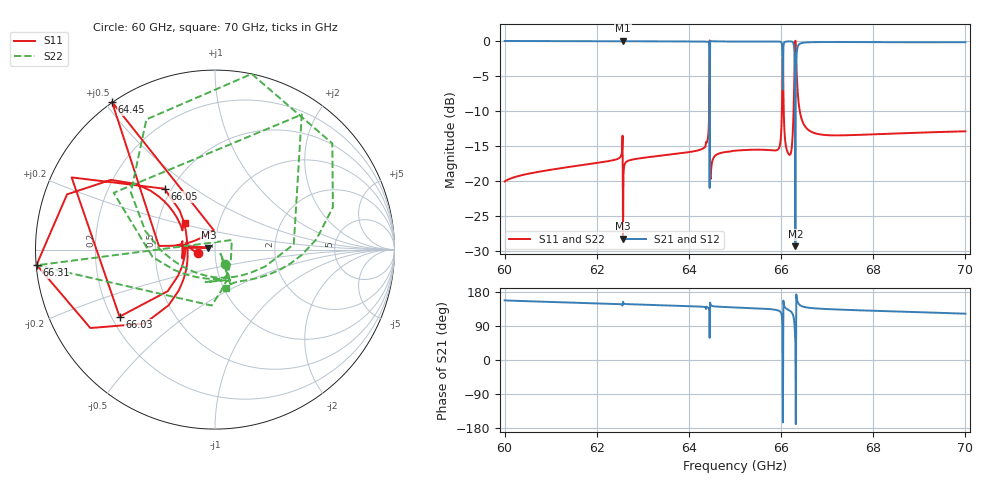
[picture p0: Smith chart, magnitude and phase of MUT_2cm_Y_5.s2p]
! TOUCHSTONE file generated by CST MICROWAVE STUDIO
! Date and time: Tue Feb 27 23:06:35 2024
! Project name: material_angular.cst
! Parameters = {Yi=5; iiii=5; exis2=5; exis=5; X=5; Z=5; Y=2}
! Header version: 2018
! Port assignment regex: !\s*Touchstone port\s*([0-9]+)\s*=\s*(CST MWS port|CST DS port)\s*([0-9]+|Zmin|Zmax)\s*\(\"(.*)\"\)(\s*mode\s*([0-9]+))?.*
! Touchstone port assignment:
! Touchstone port 1 = CST MWS port 1 ("")
! Touchstone port 2 = CST MWS port 2 ("")
# GHz S MA R 376.7
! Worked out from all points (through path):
!   1001 points, 60 GHz to 70 GHz, reference 376.7 ohm
!   highest |S21| = -0.01 dB at 62.57 GHz (marker M1); lowest = -29.4 dB at 66.31 GHz (marker M2)
!   lowest |S11| = -28.3 dB at 62.57 GHz (marker M3), VSWR 1.08, Z = 350 + j7.24 ohm
!   |S11| at or under -10 dB: start of sweep to 64.44 GHz; 64.46 GHz to 66.02 GHz (1.562 GHz wide, 2.39 % of centre); 66.4 GHz to end of sweep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
!   |S22| runs from -28.3 to 0.0 dB; largest |S21 - S12| = 0.042
!   S11 on the Smith chart (normalised r, x): 60 GHz: 0.82, -0.03; 64.45 GHz: -0.00, +0.52; 66.03 GHz: 0.23, -0.30; 66.05 GHz: 0.46, +0.39; 66.31 GHz: 0.00, -0.04; 70 GHz: 0.68, +0.22
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60  0.09867 -167.8  0.995 157.4  0.9956 157.4  0.09861 -57.0
61.67  0.1291 179.3  0.9915 150.8  0.9917 150.8  0.1292 -57.6
62.57  0.03853 164.4  0.9993 153.6  0.9993 153.6  0.03853 -37.2
63.34  0.1503 172.2  0.9887 144.8  0.9886 144.8  0.1502 -62.5
64.45  1.003 124.9  0.08867 58.5  0.1301 62.4  1 -175.0
64.51  0.1389 162.1  0.9903 142.4  0.9909 142.4  0.1391 -57.4
65  0.1637 166.6  0.9861 138.8  0.9864 138.8  0.1631 -69.1
65.91  0.1652 -178.3  0.9864 131.6  0.986 131.6  0.1651 -98.5
65.98  0.1829 -161.7  0.9835 127.7  0.9828 127.7  0.183 -122.9
66.03  0.6499 -144.9  0.7631 92.6  0.7619 92.9  0.647 150.7
66.05  0.4406 129.7  0.8966 156.7  0.898 156.7  0.44 3.9
66.09  0.1912 148.0  0.9813 138.1  0.9815 138.1  0.1907 -51.9
66.19  0.1528 -176.8  0.9882 130.1  0.9881 130.1  0.1526 -102.8
66.25  0.2079 -142.2  0.9781 121.7  0.978 121.8  0.207 -154.0
66.26  0.2452 -136.1  0.9695 118.7  0.9695 118.8  0.2439 -166.2
66.31  0.9976 -175.1  0.03404 45.3  0.03563 40.2  1 78.2
66.36  0.4312 136.6  0.902 153.3  0.9036 153.2  0.4302 -10.1
66.37  0.3915 136.4  0.92 150.6  0.9213 150.5  0.3906 -15.4
66.45  0.2729 140.3  0.962 141.9  0.9625 141.9  0.2726 -36.5
66.67  0.2223 146.8  0.975 137.0  0.9742 137.0  0.2229 -52.7
68.34  0.2162 146.1  0.9745 128.6  0.9767 128.6  0.2146 -69.3
70  0.2251 138.3  0.9743 122.2  0.9743 122.2  0.2251 -73.9
